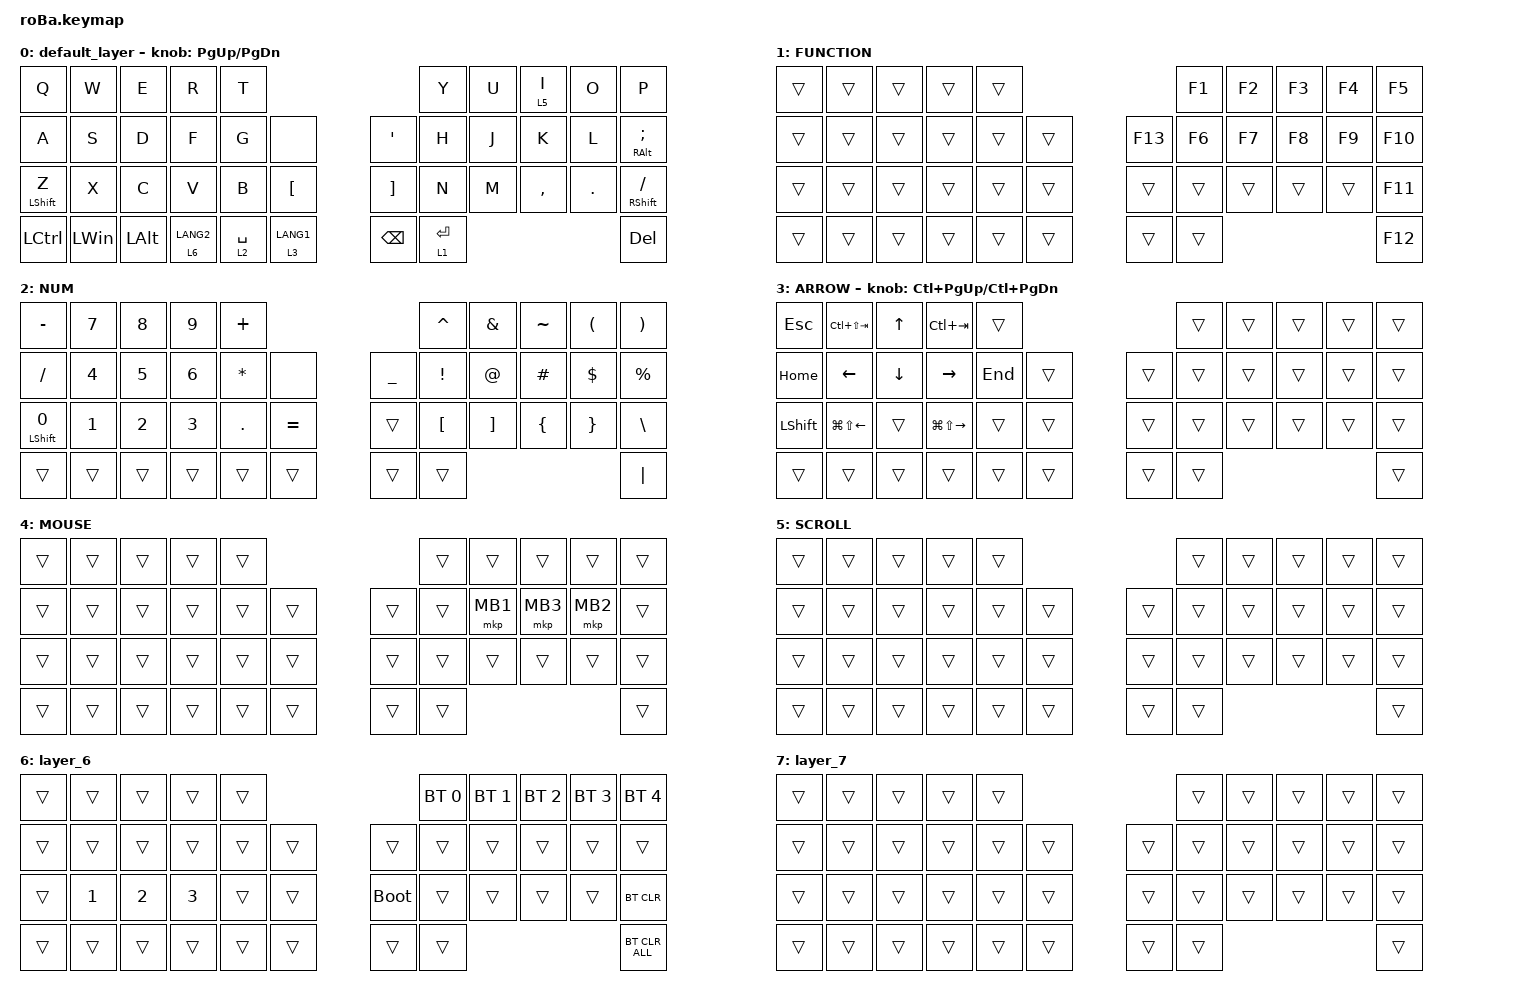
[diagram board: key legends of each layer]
#include <behaviors.dtsi>
#include <dt-bindings/zmk/bt.h>
#include <dt-bindings/zmk/keys.h>
#include <dt-bindings/zmk/pointing.h>

&mt {
    flavor = "balanced";
    quick-tap-ms = <0>;
};

&trackball {
    automouse-layer = <4>;
    scroll-layers = <5>;

    // arrows {
    //     layers = <3>;
    //     bindings =
    //         <&kp RIGHT_ARROW>,
    //         <&kp LEFT_ARROW>,
    //         <&kp UP_ARROW>,
    //         <&kp DOWN_ARROW>;
    //     tick = <10>;
    //     wait-ms = <5>;
    //     tap-ms = <5>;
    // };
};

/ {
    combos {
        compatible = "zmk,combos";

        tab {
            bindings = <&kp TAB>;
            key-positions = <11 12>;
        };

        shift_tab {
            bindings = <&kp LS(TAB)>;
            key-positions = <12 13>;
        };

        double_quotation {
            bindings = <&kp DOUBLE_QUOTES>;
            key-positions = <20 21>;
        };

        eq {
            bindings = <&kp EQUAL>;
            key-positions = <24 25>;
        };
    };

    macros {
        to_layer_0: to_layer_0 {
            compatible = "zmk,behavior-macro-one-param";
            #binding-cells = <1>;
            bindings = <&to 0 &macro_param_1to1 &kp MACRO_PLACEHOLDER>;
            label = "TO_LAYER_0";
        };
    };

    behaviors {
        lt_to_layer_0: lt_to_layer_0 {
            compatible = "zmk,behavior-hold-tap";
            label = "LAYER_TAP_TO_0";
            bindings = <&mo>, <&to_layer_0>;

            #binding-cells = <2>;
            tapping-term-ms = <200>;
        };
    };

    keymap {
        compatible = "zmk,keymap";

        default_layer {
            bindings = <
&kp Q             &kp W         &kp E         &kp R                   &kp T                                                       &kp Y        &kp U  &lt 5 I    &kp O    &kp P
&kp A             &kp S         &kp D         &kp F                   &kp G        &none                       &kp SQT            &kp H        &kp J  &kp K      &kp L    &mt RALT SEMICOLON
&mt LEFT_SHIFT Z  &kp X         &kp C         &kp V                   &kp B        &kp LEFT_BRACKET            &kp RIGHT_BRACKET  &kp N        &kp M  &kp COMMA  &kp DOT  &mt RSHIFT SLASH
&kp LCTRL         &kp LEFT_WIN  &kp LEFT_ALT  &lt_to_layer_0 6 LANG2  &lt 2 SPACE  &lt_to_layer_0 3 LANG1      &kp BACKSPACE      &lt 1 ENTER                             &kp DEL
            >;

            sensor-bindings = <&inc_dec_kp PG_UP PAGE_DOWN>;
        };

        FUNCTION {
            bindings = <
&trans  &trans  &trans  &trans  &trans                       &kp F1  &kp F2  &kp F3  &kp F4  &kp F5
&trans  &trans  &trans  &trans  &trans  &trans      &kp F13  &kp F6  &kp F7  &kp F8  &kp F9  &kp F10
&trans  &trans  &trans  &trans  &trans  &trans      &trans   &trans  &trans  &trans  &trans  &kp F11
&trans  &trans  &trans  &trans  &trans  &trans      &trans   &trans                          &kp F12
            >;
        };

        NUM {
            bindings = <
&kp MINUS          &kp N7  &kp N8  &kp N9  &kp PLUS                                     &kp CARET         &kp AMPERSAND      &kp TILDE       &kp LEFT_PARENTHESIS  &kp RIGHT_PARENTHESIS
&kp SLASH          &kp N4  &kp N5  &kp N6  &kp ASTERISK  &none          &kp UNDERSCORE  &kp EXCLAMATION   &kp AT_SIGN        &kp HASH        &kp DOLLAR            &kp PERCENT
&mt LEFT_SHIFT N0  &kp N1  &kp N2  &kp N3  &kp PERIOD    &kp EQUAL      &trans          &kp LEFT_BRACKET  &kp RIGHT_BRACKET  &kp LEFT_BRACE  &kp RIGHT_BRACE       &kp BACKSLASH
&trans             &trans  &trans  &trans  &trans        &trans         &trans          &trans                                                                     &kp PIPE
            >;
        };

        ARROW {
            bindings = <
&kp ESCAPE      &kp LC(LS(TAB))         &kp UP_ARROW    &kp LC(TAB)              &trans                       &trans  &trans  &trans  &trans  &trans
&kp HOME        &kp LEFT_ARROW          &kp DOWN_ARROW  &kp RIGHT_ARROW          &kp END  &trans      &trans  &trans  &trans  &trans  &trans  &trans
&kp LEFT_SHIFT  &kp LG(LS(LEFT_ARROW))  &trans          &kp LG(LS(RIGHT_ARROW))  &trans   &trans      &trans  &trans  &trans  &trans  &trans  &trans
&trans          &trans                  &trans          &trans                   &trans   &trans      &trans  &trans                          &trans
            >;

            sensor-bindings = <&inc_dec_kp LC(PAGE_UP) LC(PAGE_DOWN)>;
        };

        MOUSE {
            bindings = <
&trans  &trans  &trans  &trans  &trans                      &trans  &trans    &trans    &trans    &trans
&trans  &trans  &trans  &trans  &trans  &trans      &trans  &trans  &mkp MB1  &mkp MB3  &mkp MB2  &trans
&trans  &trans  &trans  &trans  &trans  &trans      &trans  &trans  &trans    &trans    &trans    &trans
&trans  &trans  &trans  &trans  &trans  &trans      &trans  &trans                                &trans
            >;
        };

        SCROLL {
            bindings = <
&trans  &trans  &trans  &trans  &trans                      &trans  &trans  &trans  &trans  &trans
&trans  &trans  &trans  &trans  &trans  &trans      &trans  &trans  &trans  &trans  &trans  &trans
&trans  &trans  &trans  &trans  &trans  &trans      &trans  &trans  &trans  &trans  &trans  &trans
&trans  &trans  &trans  &trans  &trans  &trans      &trans  &trans                          &trans
            >;
        };

        layer_6 {
            bindings = <
&trans  &trans        &trans        &trans        &trans                           &bt BT_SEL 0  &bt BT_SEL 1  &bt BT_SEL 2  &bt BT_SEL 3  &bt BT_SEL 4
&trans  &trans        &trans        &trans        &trans  &trans      &trans       &trans        &trans        &trans        &trans        &trans
&trans  &kp NUMBER_1  &kp NUMBER_2  &kp NUMBER_3  &trans  &trans      &bootloader  &trans        &trans        &trans        &trans        &bt BT_CLR
&trans  &trans        &trans        &trans        &trans  &trans      &trans       &trans                                                  &bt BT_CLR_ALL
            >;
        };

        layer_7 {
            bindings = <
&trans  &trans  &trans  &trans  &trans                      &trans  &trans  &trans  &trans  &trans
&trans  &trans  &trans  &trans  &trans  &trans      &trans  &trans  &trans  &trans  &trans  &trans
&trans  &trans  &trans  &trans  &trans  &trans      &trans  &trans  &trans  &trans  &trans  &trans
&trans  &trans  &trans  &trans  &trans  &trans      &trans  &trans                          &trans
            >;
        };
    };
};
